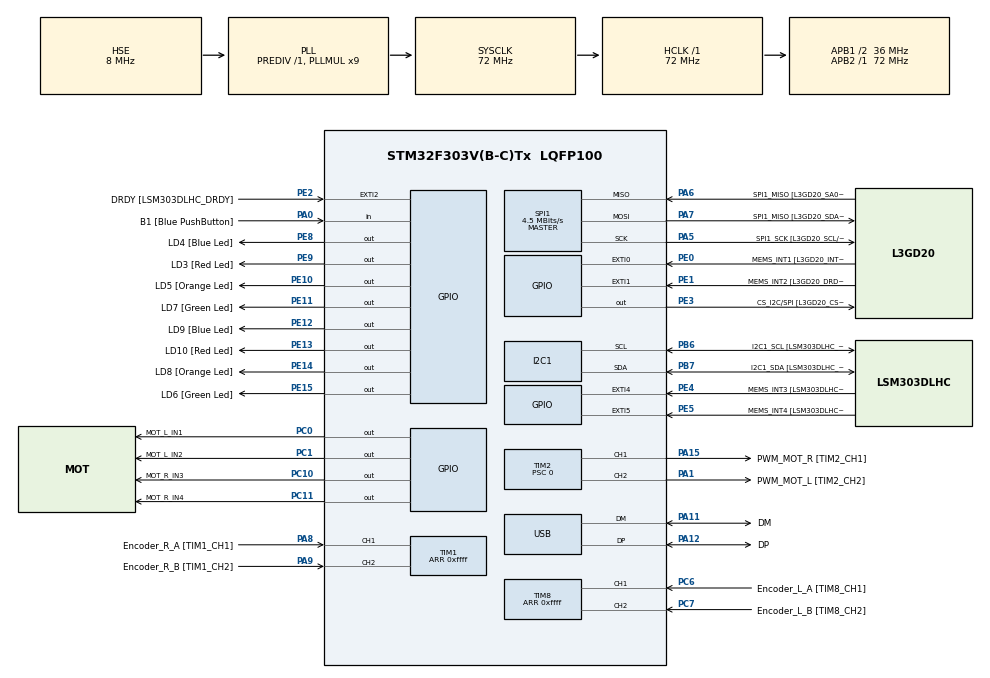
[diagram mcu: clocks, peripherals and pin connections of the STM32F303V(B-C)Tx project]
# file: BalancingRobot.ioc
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FREERTOS.Tasks01=defaultTask,24,128,StartDefaultTask,Default,NULL,Dynamic,NULL,NULL;Task_1000ms,40,128,Task_1000msFunc,Default,NULL,Dynamic,NULL,NULL;Task_100ms,8,128,Task_100msFunc,Default,NULL,Dynamic,NULL,NULL;Task_50ms,8,128,Task_50msFunc,Default,NULL,Dynamic,NULL,NULL
FREERTOS.Timers01=Timer1000ms,Timer1000msCallback,osTimerPeriodic,Default,NULL,Dynamic,NULL;Timer100ms,Timer100msCallback,osTimerPeriodic,Default,NULL,Dynamic,NULL
FREERTOS.configUSE_NEWLIB_REENTRANT=1
FREERTOS.configUSE_PREEMPTION=1
I2C1.OwnAddress=0x32
I2C1.Timing-I2C=0x2000090E
Mcu.Family=STM32F3
Mcu.Name=STM32F303V(B-C)Tx
Mcu.Package=LQFP100
NVIC.PriorityGroup=NVIC_PRIORITYGROUP_4
NVIC.TIM1_UP_TIM16_IRQn=true\:5\:0\:false\:false\:true\:true\:true\:true
NVIC.TIM7_IRQn=true\:15\:0\:false\:false\:true\:false\:false\:true
NVIC.TIM8_UP_IRQn=true\:5\:0\:false\:false\:true\:true\:true\:true
NVIC.TimeBase=TIM7_IRQn
NVIC.TimeBaseIP=TIM7
PA0.GPIO_Label=B1 [Blue PushButton]
PA0.GPIO_PuPd=GPIO_PULLDOWN
PA0.Signal=GPIO_Input
PA1.GPIO_Label=PWM_MOT_L [TIM2_CH2]
PA1.Signal=S_TIM2_CH2
PA11.GPIO_Label=DM
PA11.Mode=Device
PA11.Signal=USB_DM
PA12.GPIO_Label=DP
PA12.Mode=Device
PA12.Signal=USB_DP
PA13.GPIO_Label=SWDIO
PA13.Mode=Serial_Wire
PA13.Signal=SYS_JTMS-SWDIO
PA14.GPIO_Label=SWCLK
PA14.Mode=Serial_Wire
PA14.Signal=SYS_JTCK-SWCLK
PA15.GPIO_Label=PWM_MOT_R [TIM2_CH1]
PA15.Signal=S_TIM2_CH1_ETR
PA5.GPIO_Label=SPI1_SCK [L3GD20_SCL/SPC]
PA5.Mode=Full_Duplex_Master
PA5.Signal=SPI1_SCK
PA6.GPIO_Label=SPI1_MISO [L3GD20_SA0/SDO]
PA6.Mode=Full_Duplex_Master
PA6.Signal=SPI1_MISO
PA7.GPIO_Label=SPI1_MISO [L3GD20_SDA/SDI/SDO]
PA7.Mode=Full_Duplex_Master
PA7.Signal=SPI1_MOSI
PA8.GPIO_Label=Encoder_R_A [TIM1_CH1]
PA8.Signal=S_TIM1_CH1
PA9.GPIO_Label=Encoder_R_B [TIM1_CH2]
PA9.Signal=S_TIM1_CH2
PB3.GPIO_Label=SWO
PB3.Signal=SYS_JTDO-TRACESWO
PB6.GPIO_FM6=__NULL
PB6.GPIO_Label=I2C1_SCL [LSM303DLHC_SCL]
PB6.GPIO_Mode=GPIO_MODE_AF_OD
PB6.GPIO_Pu=GPIO_PULLUP
PB6.Mode=I2C
PB6.Signal=I2C1_SCL
PB7.GPIO_FM7=__NULL
PB7.GPIO_Label=I2C1_SDA [LSM303DLHC_SDA]
PB7.GPIO_Pu=GPIO_PULLUP
PB7.Mode=I2C
PB7.Signal=I2C1_SDA
PC0.GPIO_Label=MOT_L_IN1
PC0.GPIO_Speed=GPIO_SPEED_FREQ_LOW
PC0.Signal=GPIO_Output
PC1.GPIO_Label=MOT_L_IN2
PC1.Signal=GPIO_Output
PC10.GPIO_Label=MOT_R_IN3
PC10.Signal=GPIO_Output
PC11.GPIO_Label=MOT_R_IN4
PC11.Signal=GPIO_Output
PC14-OSC32_IN.GPIO_Label=OSC32_IN
PC14-OSC32_IN.Signal=RCC_OSC32_IN
PC15-OSC32_OUT.GPIO_Label=OSC32_OUT
PC15-OSC32_OUT.Signal=RCC_OSC32_OUT
PC6.GPIO_Label=Encoder_L_A [TIM8_CH1]
PC6.Signal=S_TIM8_CH1
PC7.GPIO_Label=Encoder_L_B [TIM8_CH2]
PC7.Signal=S_TIM8_CH2
PE0.GPIO_Label=MEMS_INT1 [L3GD20_INT1]
PE0.GPIO_ModeDefaultEXTI=GPIO_MODE_EVT_RISING
PE0.Signal=GPXTI0
PE1.GPIO_Label=MEMS_INT2 [L3GD20_DRDY/INT2]
PE1.GPIO_ModeDefaultEXTI=GPIO_MODE_EVT_RISING
PE1.Signal=GPXTI1
PE10.GPIO_Label=LD5 [Orange Led]
PE10.Signal=GPIO_Output
PE11.GPIO_Label=LD7 [Green Led]
PE11.Signal=GPIO_Output
PE12.GPIO_Label=LD9 [Blue Led]
PE12.Signal=GPIO_Output
PE13.GPIO_Label=LD10 [Red Led]
PE13.Signal=GPIO_Output
PE14.GPIO_Label=LD8 [Orange Led]
PE14.Signal=GPIO_Output
PE15.GPIO_Label=LD6 [Green Led]
PE15.Signal=GPIO_Output
PE2.GPIO_Label=DRDY [LSM303DLHC_DRDY]
PE2.GPIO_ModeDefaultEXTI=GPIO_MODE_EVT_RISING
PE2.Signal=GPXTI2
PE3.GPIO_Label=CS_I2C/SPI [L3GD20_CS_I2C/SPI]
PE3.Signal=GPIO_Output
PE4.GPIO_Label=MEMS_INT3 [LSM303DLHC_INT1]
PE4.GPIO_ModeDefaultEXTI=GPIO_MODE_EVT_RISING
PE4.Signal=GPXTI4
PE5.GPIO_Label=MEMS_INT4 [LSM303DLHC_INT2]
PE5.GPIO_ModeDefaultEXTI=GPIO_MODE_EVT_RISING
PE5.Signal=GPXTI5
PE8.GPIO_Label=LD4 [Blue Led]
PE8.Signal=GPIO_Output
PE9.GPIO_Label=LD3 [Red Led]
PE9.Signal=GPIO_Output
PF0-OSC_IN.GPIO_Label=OSC_IN
PF0-OSC_IN.Mode=HSE-External-Clock-Source
PF0-OSC_IN.Signal=RCC_OSC_IN
PF1-OSC_OUT.GPIO_Label=OSC_OUT
PF1-OSC_OUT.Signal=RCC_OSC_OUT
ProjectManager.HeapSize=0x200
ProjectManager.StackSize=0x400
ProjectManager.TargetToolchain=STM32CubeIDE
RCC.AHBFreq_Value=72000000
RCC.APB1CLKDivider=RCC_HCLK_DIV2
RCC.APB1Freq_Value=36000000
RCC.APB1TimFreq_Value=72000000
RCC.APB2Freq_Value=72000000
RCC.APB2TimFreq_Value=72000000
RCC.CortexFreq_Value=72000000
RCC.HCLKFreq_Value=72000000
RCC.HSE_VALUE=8000000
RCC.HSI_VALUE=8000000
RCC.LSE_VALUE=32768
RCC.PLLMUL=RCC_PLL_MUL9
RCC.PRESCALERUSB=RCC_USBCLKSOURCE_PLL_DIV1_5
RCC.SYSCLKFreq_VALUE=72000000
RCC.SYSCLKSourceVirtual=RCC_SYSCLKSOURCE_PLLCLK
RCC.USBFreq_Value=48000000
SH.S_TIM1_CH1.0=TIM1_CH1,Encoder_Interface
SH.S_TIM1_CH2.0=TIM1_CH2,Encoder_Interface
SH.S_TIM2_CH1_ETR.0=TIM2_CH1,PWM Generation1 CH1
SH.S_TIM2_CH2.0=TIM2_CH2,PWM Generation2 CH2
SH.S_TIM8_CH1.0=TIM8_CH1,Encoder_Interface
SH.S_TIM8_CH2.0=TIM8_CH2,Encoder_Interface
SPI1.BaudRatePrescaler=SPI_BAUDRATEPRESCALER_16
SPI1.BaudRatePrescaler-Full_Duplex_Master=SPI_BAUDRATEPRESCALER_2
SPI1.CalculateBaudRate=4.5 MBits/s
SPI1.CalculateBaudRate-Full_Duplex_Master=24.0 MBits/s
SPI1.DataSize=SPI_DATASIZE_8BIT
SPI1.Direction=SPI_DIRECTION_2LINES
SPI1.Mode=SPI_MODE_MASTER
SPI1.Mode-Full_Duplex_Master=SPI_MODE_MASTER
SPI1.NSSPMode=SPI_NSS_PULSE_ENABLE
SPI1.VirtualType=VM_MASTER
TIM1.EncoderMode=TIM_ENCODERMODE_TI12
TIM1.Period=0xffff
TIM2.Channel-PWM\ Generation1\ CH1=TIM_CHANNEL_1
TIM2.Channel-PWM\ Generation2\ CH2=TIM_CHANNEL_2
TIM2.Period=3600
TIM2.Prescaler=0
TIM2.Pulse-PWM\ Generation1\ CH1=0
TIM2.Pulse-PWM\ Generation2\ CH2=0
TIM8.EncoderMode=TIM_ENCODERMODE_TI12
TIM8.Period=0xffff
VP_FREERTOS_VS_CMSIS_V2.Mode=CMSIS_V2
VP_SYS_VS_tim7.Mode=TIM7
board=STM32F3DISCOVERY

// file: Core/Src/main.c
/* USER CODE BEGIN Header */
/**
  ******************************************************************************
  * @file           : main.c
  * @brief          : Main program body
  ******************************************************************************
  * @attention
  *
  * Copyright (c) 2022 STMicroelectronics.
  * All rights reserved.
  *
  * This software is licensed under terms that can be found in the LICENSE file
  * in the root directory of this software component.
  * If no LICENSE file comes with this software, it is provided AS-IS.
  *
  ******************************************************************************
  */
/* USER CODE END Header */
#include "main.h"
#include "cmsis_os.h"

/* USER CODE BEGIN Includes */
#include <stdio.h>
#include "selftest.h"

#include "../Encoder/Encoder.h"
#include "../L298h/L298.h"
#include "../PID/PID.h"
#include "../PID/PID_Cfg.h"

/* USER CODE END Includes */

I2C_HandleTypeDef hi2c1;

SPI_HandleTypeDef hspi1;

TIM_HandleTypeDef htim1;
TIM_HandleTypeDef htim2;
TIM_HandleTypeDef htim8;

PCD_HandleTypeDef hpcd_USB_FS;

/* Definitions for defaultTask */
osThreadId_t defaultTaskHandle;
const osThreadAttr_t defaultTask_attributes = {
  .name = "defaultTask",
  .stack_size = 128 * 4,
  .priority = (osPriority_t) osPriorityNormal,
};
/* Definitions for Task_1000ms */
osThreadId_t Task_1000msHandle;
const osThreadAttr_t Task_1000ms_attributes = {
  .name = "Task_1000ms",
  .stack_size = 128 * 4,
  .priority = (osPriority_t) osPriorityHigh,
};
/* Definitions for Task_100ms */
osThreadId_t Task_100msHandle;
const osThreadAttr_t Task_100ms_attributes = {
  .name = "Task_100ms",
  .stack_size = 128 * 4,
  .priority = (osPriority_t) osPriorityLow,
};
/* Definitions for Task_50ms */
osThreadId_t Task_50msHandle;
const osThreadAttr_t Task_50ms_attributes = {
  .name = "Task_50ms",
  .stack_size = 128 * 4,
  .priority = (osPriority_t) osPriorityLow,
};
/* Definitions for Timer1000ms */
osTimerId_t Timer1000msHandle;
const osTimerAttr_t Timer1000ms_attributes = {
  .name = "Timer1000ms"
};
/* Definitions for Timer100ms */
osTimerId_t Timer100msHandle;
const osTimerAttr_t Timer100ms_attributes = {
  .name = "Timer100ms"
};
/* USER CODE BEGIN PV */
int32_t PID_output_R = 0;
int32_t PID_output_L = 0;
/* USER CODE END PV */

void SystemClock_Config(void);
static void MX_GPIO_Init(void);
static void MX_I2C1_Init(void);
static void MX_SPI1_Init(void);
static void MX_USB_PCD_Init(void);
static void MX_TIM1_Init(void);
static void MX_TIM2_Init(void);
static void MX_TIM8_Init(void);
void StartDefaultTask(void *argument);
void Task_1000msFunc(void *argument);
void Task_100msFunc(void *argument);
void Task_50msFunc(void *argument);
void Timer1000msCallback(void *argument);
void Timer100msCallback(void *argument);

/* USER CODE BEGIN 0 */
int _write(int file, char *ptr, int len)
{
	int DataIdx;

	for (DataIdx = 0; DataIdx < len; DataIdx++)
	{
	   ITM_SendChar( *ptr++ );
	}

	return len;
}

/* USER CODE END 0 */

int main(void)
{

  /* MCU Configuration--------------------------------------------------------*/

  /* Reset of all peripherals, Initializes the Flash interface and the Systick. */
  HAL_Init();

  /* USER CODE BEGIN Init */
  /* Delay 1s to avoid motor start glitch in debug mode */
  HAL_Delay(1000);
  /* USER CODE END Init */

  /* Configure the system clock */
  SystemClock_Config();

  /* Initialize all configured peripherals */
  MX_GPIO_Init();
  MX_I2C1_Init();
  MX_SPI1_Init();
  MX_USB_PCD_Init();
  MX_TIM1_Init();
  MX_TIM2_Init();
  MX_TIM8_Init();
  /* USER CODE BEGIN 2 */
  Encoder_Init();
  L298_Init();

  /* Get the set period from motor control pwm timer to define PID output limits */
  PID_Speed_L.limMax = (float)L298_GetPeriod();
  PID_Speed_R.limMax = (float)L298_GetPeriod();

  PIDController_Init(&PID_Speed_L);
  PIDController_Init(&PID_Speed_R);

  BSP_ACCELERO_Init();
  BSP_GYRO_Init();
  printf(" STM32F3 Demo!\n");

  printf("\nPWM Max limit L: %d !\n",(int)PID_Speed_L.limMax);
  printf("PWM Max limit R: %d !\n",(int)PID_Speed_R.limMax);
  /* USER CODE END 2 */

  /* Init scheduler */
  osKernelInitialize();

  /* Create the timer(s) */
  /* creation of Timer1000ms */
  Timer1000msHandle = osTimerNew(Timer1000msCallback, osTimerPeriodic, NULL, &Timer1000ms_attributes);

  /* creation of Timer100ms */
  Timer100msHandle = osTimerNew(Timer100msCallback, osTimerPeriodic, NULL, &Timer100ms_attributes);

  /* Create the thread(s) */
  /* creation of defaultTask */
  defaultTaskHandle = osThreadNew(StartDefaultTask, NULL, &defaultTask_attributes);

  /* creation of Task_1000ms */
  Task_1000msHandle = osThreadNew(Task_1000msFunc, NULL, &Task_1000ms_attributes);

  /* creation of Task_100ms */
  Task_100msHandle = osThreadNew(Task_100msFunc, NULL, &Task_100ms_attributes);

  /* creation of Task_50ms */
  Task_50msHandle = osThreadNew(Task_50msFunc, NULL, &Task_50ms_attributes);

  /* Start scheduler */
  osKernelStart();

  /* We should never get here as control is now taken by the scheduler */
  /* Infinite loop */
  while (1)
  {

    /* USER CODE BEGIN 3 */
	  /*
	  if(HAL_GPIO_ReadPin(B1_GPIO_Port, B1_Pin))
	  {
		  HAL_GPIO_TogglePin(LD4_GPIO_Port,LD4_Pin);
		  HAL_GPIO_WritePin(LD3_GPIO_Port,LD3_Pin,GPIO_PIN_SET);
		  printf("B");
		  HAL_GPIO_WritePin(LD3_GPIO_Port,LD3_Pin,GPIO_PIN_RESET);
	  }

	  HAL_Delay(100);
	  */
	  //ACCELERO_MEMS_Test();
	  GYRO_MEMS_Test();
  }
  /* USER CODE END 3 */
}

void SystemClock_Config(void)
{
  RCC_OscInitTypeDef RCC_OscInitStruct = {0};
  RCC_ClkInitTypeDef RCC_ClkInitStruct = {0};
  RCC_PeriphCLKInitTypeDef PeriphClkInit = {0};

  /** Initializes the RCC Oscillators according to the specified parameters
  * in the RCC_OscInitTypeDef structure.
  */
  RCC_OscInitStruct.OscillatorType = RCC_OSCILLATORTYPE_HSI|RCC_OSCILLATORTYPE_HSE;
  RCC_OscInitStruct.HSEState = RCC_HSE_BYPASS;
  RCC_OscInitStruct.HSEPredivValue = RCC_HSE_PREDIV_DIV1;
  RCC_OscInitStruct.HSIState = RCC_HSI_ON;
  RCC_OscInitStruct.HSICalibrationValue = RCC_HSICALIBRATION_DEFAULT;
  RCC_OscInitStruct.PLL.PLLState = RCC_PLL_ON;
  RCC_OscInitStruct.PLL.PLLSource = RCC_PLLSOURCE_HSE;
  RCC_OscInitStruct.PLL.PLLMUL = RCC_PLL_MUL9;
  if (HAL_RCC_OscConfig(&RCC_OscInitStruct) != HAL_OK)
  {
    Error_Handler();
  }
  /** Initializes the CPU, AHB and APB buses clocks
  */
  RCC_ClkInitStruct.ClockType = RCC_CLOCKTYPE_HCLK|RCC_CLOCKTYPE_SYSCLK
                              |RCC_CLOCKTYPE_PCLK1|RCC_CLOCKTYPE_PCLK2;
  RCC_ClkInitStruct.SYSCLKSource = RCC_SYSCLKSOURCE_PLLCLK;
  RCC_ClkInitStruct.AHBCLKDivider = RCC_SYSCLK_DIV1;
  RCC_ClkInitStruct.APB1CLKDivider = RCC_HCLK_DIV2;
  RCC_ClkInitStruct.APB2CLKDivider = RCC_HCLK_DIV1;

  if (HAL_RCC_ClockConfig(&RCC_ClkInitStruct, FLASH_LATENCY_2) != HAL_OK)
  {
    Error_Handler();
  }
  PeriphClkInit.PeriphClockSelection = RCC_PERIPHCLK_USB|RCC_PERIPHCLK_I2C1
                              |RCC_PERIPHCLK_TIM1|RCC_PERIPHCLK_TIM8;
  PeriphClkInit.I2c1ClockSelection = RCC_I2C1CLKSOURCE_HSI;
  PeriphClkInit.USBClockSelection = RCC_USBCLKSOURCE_PLL_DIV1_5;
  PeriphClkInit.Tim1ClockSelection = RCC_TIM1CLK_HCLK;
  PeriphClkInit.Tim8ClockSelection = RCC_TIM8CLK_HCLK;
  if (HAL_RCCEx_PeriphCLKConfig(&PeriphClkInit) != HAL_OK)
  {
    Error_Handler();
  }
}

static void MX_I2C1_Init(void)
{

  hi2c1.Instance = I2C1;
  hi2c1.Init.Timing = 0x2000090E;
  hi2c1.Init.OwnAddress1 = 100;
  hi2c1.Init.AddressingMode = I2C_ADDRESSINGMODE_7BIT;
  hi2c1.Init.DualAddressMode = I2C_DUALADDRESS_DISABLE;
  hi2c1.Init.OwnAddress2 = 0;
  hi2c1.Init.OwnAddress2Masks = I2C_OA2_NOMASK;
  hi2c1.Init.GeneralCallMode = I2C_GENERALCALL_DISABLE;
  hi2c1.Init.NoStretchMode = I2C_NOSTRETCH_DISABLE;
  if (HAL_I2C_Init(&hi2c1) != HAL_OK)
  {
    Error_Handler();
  }
  /** Configure Analogue filter
  */
  if (HAL_I2CEx_ConfigAnalogFilter(&hi2c1, I2C_ANALOGFILTER_ENABLE) != HAL_OK)
  {
    Error_Handler();
  }
  /** Configure Digital filter
  */
  if (HAL_I2CEx_ConfigDigitalFilter(&hi2c1, 0) != HAL_OK)
  {
    Error_Handler();
  }

}

static void MX_SPI1_Init(void)
{

  /* SPI1 parameter configuration*/
  hspi1.Instance = SPI1;
  hspi1.Init.Mode = SPI_MODE_MASTER;
  hspi1.Init.Direction = SPI_DIRECTION_2LINES;
  hspi1.Init.DataSize = SPI_DATASIZE_8BIT;
  hspi1.Init.CLKPolarity = SPI_POLARITY_LOW;
  hspi1.Init.CLKPhase = SPI_PHASE_1EDGE;
  hspi1.Init.NSS = SPI_NSS_SOFT;
  hspi1.Init.BaudRatePrescaler = SPI_BAUDRATEPRESCALER_16;
  hspi1.Init.FirstBit = SPI_FIRSTBIT_MSB;
  hspi1.Init.TIMode = SPI_TIMODE_DISABLE;
  hspi1.Init.CRCCalculation = SPI_CRCCALCULATION_DISABLE;
  hspi1.Init.CRCPolynomial = 7;
  hspi1.Init.CRCLength = SPI_CRC_LENGTH_DATASIZE;
  hspi1.Init.NSSPMode = SPI_NSS_PULSE_ENABLE;
  if (HAL_SPI_Init(&hspi1) != HAL_OK)
  {
    Error_Handler();
  }

}

static void MX_TIM1_Init(void)
{

  TIM_Encoder_InitTypeDef sConfig = {0};
  TIM_MasterConfigTypeDef sMasterConfig = {0};

  htim1.Instance = TIM1;
  htim1.Init.Prescaler = 0;
  htim1.Init.CounterMode = TIM_COUNTERMODE_UP;
  htim1.Init.Period = 0xffff;
  htim1.Init.ClockDivision = TIM_CLOCKDIVISION_DIV1;
  htim1.Init.RepetitionCounter = 0;
  htim1.Init.AutoReloadPreload = TIM_AUTORELOAD_PRELOAD_DISABLE;
  sConfig.EncoderMode = TIM_ENCODERMODE_TI12;
  sConfig.IC1Polarity = TIM_ICPOLARITY_RISING;
  sConfig.IC1Selection = TIM_ICSELECTION_DIRECTTI;
  sConfig.IC1Prescaler = TIM_ICPSC_DIV1;
  sConfig.IC1Filter = 0;
  sConfig.IC2Polarity = TIM_ICPOLARITY_RISING;
  sConfig.IC2Selection = TIM_ICSELECTION_DIRECTTI;
  sConfig.IC2Prescaler = TIM_ICPSC_DIV1;
  sConfig.IC2Filter = 0;
  if (HAL_TIM_Encoder_Init(&htim1, &sConfig) != HAL_OK)
  {
    Error_Handler();
  }
  sMasterConfig.MasterOutputTrigger = TIM_TRGO_RESET;
  sMasterConfig.MasterOutputTrigger2 = TIM_TRGO2_RESET;
  sMasterConfig.MasterSlaveMode = TIM_MASTERSLAVEMODE_DISABLE;
  if (HAL_TIMEx_MasterConfigSynchronization(&htim1, &sMasterConfig) != HAL_OK)
  {
    Error_Handler();
  }
  /* USER CODE BEGIN TIM1_Init 2 */
  __HAL_TIM_UIFREMAP_ENABLE(&htim1);
  __HAL_TIM_CLEAR_IT(&htim1, TIM_IT_UPDATE);
  /* USER CODE END TIM1_Init 2 */

}

static void MX_TIM2_Init(void)
{

  TIM_MasterConfigTypeDef sMasterConfig = {0};
  TIM_OC_InitTypeDef sConfigOC = {0};

  htim2.Instance = TIM2;
  htim2.Init.Prescaler = 0;
  htim2.Init.CounterMode = TIM_COUNTERMODE_UP;
  htim2.Init.Period = 3600;
  htim2.Init.ClockDivision = TIM_CLOCKDIVISION_DIV1;
  htim2.Init.AutoReloadPreload = TIM_AUTORELOAD_PRELOAD_DISABLE;
  if (HAL_TIM_PWM_Init(&htim2) != HAL_OK)
  {
    Error_Handler();
  }
  sMasterConfig.MasterOutputTrigger = TIM_TRGO_RESET;
  sMasterConfig.MasterSlaveMode = TIM_MASTERSLAVEMODE_DISABLE;
  if (HAL_TIMEx_MasterConfigSynchronization(&htim2, &sMasterConfig) != HAL_OK)
  {
    Error_Handler();
  }
  sConfigOC.OCMode = TIM_OCMODE_PWM1;
  sConfigOC.Pulse = 0;
  sConfigOC.OCPolarity = TIM_OCPOLARITY_HIGH;
  sConfigOC.OCFastMode = TIM_OCFAST_DISABLE;
  if (HAL_TIM_PWM_ConfigChannel(&htim2, &sConfigOC, TIM_CHANNEL_1) != HAL_OK)
  {
    Error_Handler();
  }
  if (HAL_TIM_PWM_ConfigChannel(&htim2, &sConfigOC, TIM_CHANNEL_2) != HAL_OK)
  {
    Error_Handler();
  }
  HAL_TIM_MspPostInit(&htim2);

}

static void MX_TIM8_Init(void)
{

  TIM_Encoder_InitTypeDef sConfig = {0};
  TIM_MasterConfigTypeDef sMasterConfig = {0};

  htim8.Instance = TIM8;
  htim8.Init.Prescaler = 0;
  htim8.Init.CounterMode = TIM_COUNTERMODE_UP;
  htim8.Init.Period = 0xffff;
  htim8.Init.ClockDivision = TIM_CLOCKDIVISION_DIV1;
  htim8.Init.RepetitionCounter = 0;
  htim8.Init.AutoReloadPreload = TIM_AUTORELOAD_PRELOAD_DISABLE;
  sConfig.EncoderMode = TIM_ENCODERMODE_TI12;
  sConfig.IC1Polarity = TIM_ICPOLARITY_RISING;
  sConfig.IC1Selection = TIM_ICSELECTION_DIRECTTI;
  sConfig.IC1Prescaler = TIM_ICPSC_DIV1;
  sConfig.IC1Filter = 0;
  sConfig.IC2Polarity = TIM_ICPOLARITY_RISING;
  sConfig.IC2Selection = TIM_ICSELECTION_DIRECTTI;
  sConfig.IC2Prescaler = TIM_ICPSC_DIV1;
  sConfig.IC2Filter = 0;
  if (HAL_TIM_Encoder_Init(&htim8, &sConfig) != HAL_OK)
  {
    Error_Handler();
  }
  sMasterConfig.MasterOutputTrigger = TIM_TRGO_RESET;
  sMasterConfig.MasterOutputTrigger2 = TIM_TRGO2_RESET;
  sMasterConfig.MasterSlaveMode = TIM_MASTERSLAVEMODE_DISABLE;
  if (HAL_TIMEx_MasterConfigSynchronization(&htim8, &sMasterConfig) != HAL_OK)
  {
    Error_Handler();
  }
  /* USER CODE BEGIN TIM8_Init 2 */
  __HAL_TIM_UIFREMAP_ENABLE(&htim8);
  __HAL_TIM_CLEAR_IT(&htim8, TIM_IT_UPDATE);
  /* USER CODE END TIM8_Init 2 */

}

static void MX_USB_PCD_Init(void)
{

  hpcd_USB_FS.Instance = USB;
  hpcd_USB_FS.Init.dev_endpoints = 8;
  hpcd_USB_FS.Init.speed = PCD_SPEED_FULL;
  hpcd_USB_FS.Init.phy_itface = PCD_PHY_EMBEDDED;
  hpcd_USB_FS.Init.low_power_enable = DISABLE;
  hpcd_USB_FS.Init.battery_charging_enable = DISABLE;
  if (HAL_PCD_Init(&hpcd_USB_FS) != HAL_OK)
  {
    Error_Handler();
  }

}

static void MX_GPIO_Init(void)
{
  GPIO_InitTypeDef GPIO_InitStruct = {0};

  /* GPIO Ports Clock Enable */
  __HAL_RCC_GPIOE_CLK_ENABLE();
  __HAL_RCC_GPIOC_CLK_ENABLE();
  __HAL_RCC_GPIOF_CLK_ENABLE();
  __HAL_RCC_GPIOA_CLK_ENABLE();
  __HAL_RCC_GPIOB_CLK_ENABLE();

  /*Configure GPIO pin Output Level */
  HAL_GPIO_WritePin(GPIOE, CS_I2C_SPI_Pin|LD4_Pin|LD3_Pin|LD5_Pin
                          |LD7_Pin|LD9_Pin|LD10_Pin|LD8_Pin
                          |LD6_Pin, GPIO_PIN_RESET);

  /*Configure GPIO pin Output Level */
  HAL_GPIO_WritePin(GPIOC, MOT_L_IN1_Pin|MOT_L_IN2_Pin|MOT_R_IN3_Pin|MOT_R_IN4_Pin, GPIO_PIN_RESET);

  /*Configure GPIO pins : DRDY_Pin MEMS_INT3_Pin MEMS_INT4_Pin MEMS_INT1_Pin
                           MEMS_INT2_Pin */
  GPIO_InitStruct.Pin = DRDY_Pin|MEMS_INT3_Pin|MEMS_INT4_Pin|MEMS_INT1_Pin
                          |MEMS_INT2_Pin;
  GPIO_InitStruct.Mode = GPIO_MODE_EVT_RISING;
  GPIO_InitStruct.Pull = GPIO_NOPULL;
  HAL_GPIO_Init(GPIOE, &GPIO_InitStruct);

  /*Configure GPIO pins : CS_I2C_SPI_Pin LD4_Pin LD3_Pin LD5_Pin
                           LD7_Pin LD9_Pin LD10_Pin LD8_Pin
                           LD6_Pin */
  GPIO_InitStruct.Pin = CS_I2C_SPI_Pin|LD4_Pin|LD3_Pin|LD5_Pin
                          |LD7_Pin|LD9_Pin|LD10_Pin|LD8_Pin
                          |LD6_Pin;
  GPIO_InitStruct.Mode = GPIO_MODE_OUTPUT_PP;
  GPIO_InitStruct.Pull = GPIO_NOPULL;
  GPIO_InitStruct.Speed = GPIO_SPEED_FREQ_LOW;
  HAL_GPIO_Init(GPIOE, &GPIO_InitStruct);

  /*Configure GPIO pins : MOT_L_IN1_Pin MOT_L_IN2_Pin MOT_R_IN3_Pin MOT_R_IN4_Pin */
  GPIO_InitStruct.Pin = MOT_L_IN1_Pin|MOT_L_IN2_Pin|MOT_R_IN3_Pin|MOT_R_IN4_Pin;
  GPIO_InitStruct.Mode = GPIO_MODE_OUTPUT_PP;
  GPIO_InitStruct.Pull = GPIO_NOPULL;
  GPIO_InitStruct.Speed = GPIO_SPEED_FREQ_LOW;
  HAL_GPIO_Init(GPIOC, &GPIO_InitStruct);

  /*Configure GPIO pin : B1_Pin */
  GPIO_InitStruct.Pin = B1_Pin;
  GPIO_InitStruct.Mode = GPIO_MODE_INPUT;
  GPIO_InitStruct.Pull = GPIO_PULLDOWN;
  HAL_GPIO_Init(B1_GPIO_Port, &GPIO_InitStruct);

}

void StartDefaultTask(void *argument)
{
  /* USER CODE BEGIN 5 */
	osTimerStart(Timer1000msHandle,1000);
	osTimerStart(Timer100msHandle,100);
  /* Infinite loop */
  for(;;)
  {
	  osDelay(1000);
  }
  /* USER CODE END 5 */
}

void Task_1000msFunc(void *argument)
{
  /* USER CODE BEGIN Task_1000msFunc */
  /* Infinite loop */
  uint32_t tick;

  tick = osKernelGetTickCount();        // retrieve the number of system ticks
  for (;;)
  {
	  tick += 500U; // delay 1000 ticks periodically
	  BSP_LED_Toggle(LED3);

	  printf("\nPosR: %ld SpdR: %d\nPosL: %ld SpdL: %d\n",(long int)Encoder_GetPosition(ENCODER_RIGHT),(int)Encoder_GetSpeed(ENCODER_RIGHT), (long int)Encoder_GetPosition(ENCODER_LEFT),(int)Encoder_GetSpeed(ENCODER_LEFT));
	  printf("PID R: %ld\n", PID_output_R);
	  printf("PID L: %ld\n", PID_output_L);
	  osDelayUntil(tick);
  }
  /* USER CODE END Task_1000msFunc */
}

void Task_100msFunc(void *argument)
{
  /* USER CODE BEGIN Task_100msFunc */
	  uint32_t tick;
	  //uint32_t pwm = 0;
	  //int sign = 1;

	  tick = osKernelGetTickCount();        // retrieve the number of system ticks
	  for (;;)
	  {
		  tick += 100U; // delay 100 ticks periodically
		  BSP_LED_Toggle(LED7);

		  /* PWM Sweep */
		  /*
		  pwm = (pwm + sign*25);

		  if (pwm == 3600 || pwm == 0)
		  {
			  sign = - sign;
		  }

		  L298_SetDutyInTick( L298_MOTOR_RIGHT, pwm);
		  L298_SetDutyInTick( L298_MOTOR_LEFT, 3600-pwm);
          */

		  osDelayUntil(tick);
	  }
  /* USER CODE END Task_100msFunc */
}

/* USER CODE BEGIN Header_Task_50msFunc */
/**
* @brief Function implementing the Task_50ms thread.
* @param argument: Not used
* @retval None
*/
float Speed_Measured_L = 0;
float Speed_Measured_R = 0;
/* USER CODE END Header_Task_50msFunc */
void Task_50msFunc(void *argument)
{
  /* USER CODE BEGIN Task_50msFunc */
	uint32_t tick;
  /* Infinite loop */
  for(;;)
  {
    tick = osKernelGetTickCount();        // retrieve the number of system ticks
    tick += 10;

    Encoder_Cyclic();
    Speed_Measured_L = Encoder_GetSpeed(ENCODER_LEFT);
    Speed_Measured_R = Encoder_GetSpeed(ENCODER_RIGHT);

    float Speed_SetPoint = 50;
    PID_output_L = (int32_t)PIDController_Update(&PID_Speed_L, Speed_SetPoint, Speed_Measured_L);
    PID_output_R = (int32_t)PIDController_Update(&PID_Speed_R, Speed_SetPoint, Speed_Measured_R);

    L298_SetDutyInTick( L298_MOTOR_LEFT, PID_output_L);
    L298_SetDutyInTick( L298_MOTOR_RIGHT, PID_output_R);

    osDelayUntil(tick);
  }
  /* USER CODE END Task_50msFunc */
}

/* Timer1000msCallback function */
void Timer1000msCallback(void *argument)
{
  /* USER CODE BEGIN Timer1000msCallback */
	//BSP_LED_Toggle(LED10);
  /* USER CODE END Timer1000msCallback */
}

/* Timer100msCallback function */
void Timer100msCallback(void *argument)
{
  /* USER CODE BEGIN Timer100msCallback */
	//BSP_LED_Toggle(LED6);
  /* USER CODE END Timer100msCallback */
}

void HAL_TIM_PeriodElapsedCallback(TIM_HandleTypeDef *htim)
{
  if (htim->Instance == TIM7) {
    HAL_IncTick();
  }
}

void Error_Handler(void)
{
  __disable_irq();
  while (1)
  {
  }
}
